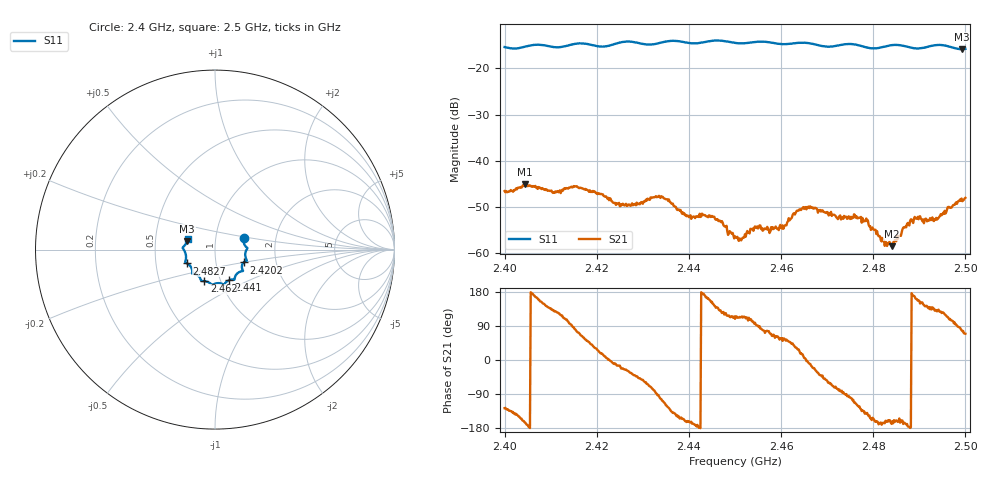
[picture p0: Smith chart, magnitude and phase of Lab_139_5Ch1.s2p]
# Hz S RI R 50
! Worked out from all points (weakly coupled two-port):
!   601 points, 2.4 GHz to 2.5 GHz, reference 50 ohm
!   highest |S21| = -45.20 dB at 2.4043 GHz (marker M1); lowest = -58.6 dB at 2.484 GHz (marker M2)
!   lowest |S11| = -15.8 dB at 2.4992 GHz (marker M3), VSWR 1.39, Z = 36.5 + j3.61 ohm
!   |S11| at or under -10 dB: start of sweep to end of sweep
!   S12 and S22 are empty: the file has one direction only
!   S11 on the Smith chart (normalised r, x): 2.4 GHz: 1.36, +0.18; 2.4202 GHz: 1.36, -0.20; 2.441 GHz: 1.10, -0.39; 2.462 GHz: 0.84, -0.30; 2.4827 GHz: 0.72, -0.12; 2.5 GHz: 0.73, +0.09
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2.4e9  0.1588 0.0628  -0.00281 -0.00372  0 0  0 0
2.404333e9  0.171 0.0178  -0.00529 -0.00147  0 0  0 0
2.410833e9  0.1699 -0.0147  -0.00274 0.00352  0 0  0 0
2.416667e9  0.1773 -0.0607  0.00218 0.0045  0 0  0 0
2.420167e9  0.1589 -0.0714  0.00388 0.00188  0 0  0 0
2.4255e9  0.1551 -0.1159  0.00304 -0.00125  0 0  0 0
2.433333e9  0.1117 -0.1507  -0.000144 -0.00403  0 0  0 0
2.441e9  0.0789 -0.1698  -0.00242 -0.000477  0 0  0 0
2.445e9  0.0522 -0.193  -0.00224 0.00111  0 0  0 0
2.45e9  0.0285 -0.1876  -0.000479 0.00143  0 0  0 0
2.454833e9  -0.0116 -0.1946  -3.85e-05 0.00193  0 0  0 0
2.4605e9  -0.0458 -0.1782  0.000994 0.00152  0 0  0 0
2.462e9  -0.0601 -0.1756  0.00157 0.00168  0 0  0 0
2.466667e9  -0.079 -0.1684  0.00293 -0.000901  0 0  0 0
2.478333e9  -0.1278 -0.1126  -0.00167 -0.00143  0 0  0 0
2.482667e9  -0.1559 -0.0773  -0.00123 -0.00044  0 0  0 0
2.483333e9  -0.1603 -0.0751  -0.00118 -0.000386  0 0  0 0
2.484e9  -0.1636 -0.0737  -0.00115 -0.000231  0 0  0 0
2.4885e9  -0.1613 -0.044  -0.00215 0.000319  0 0  0 0
2.4935e9  -0.1791 0.00725  -0.00153 0.00168  0 0  0 0
2.499167e9  -0.1547 0.0482  0.000761 0.00379  0 0  0 0
2.5e9  -0.1521 0.06  0.00139 0.00368  0 0  0 0
